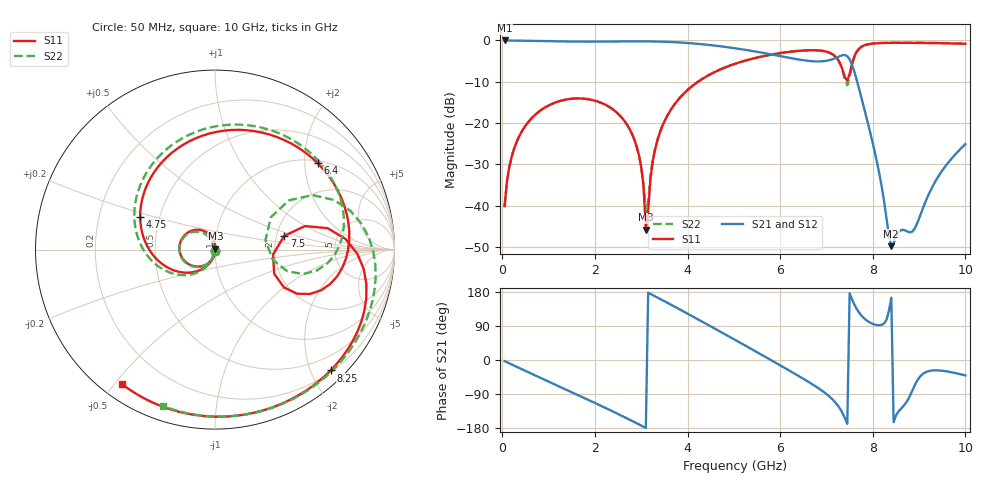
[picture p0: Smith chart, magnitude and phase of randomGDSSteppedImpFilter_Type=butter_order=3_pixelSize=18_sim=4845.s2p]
! freq	dB(S11)	phase(S11)	dB(S12)	phase(S12)
!  dB(S21)	phase(S21)	dB(S22)	phase(S22)
!S-par simulation data
#  GHz  S  DB  R 50
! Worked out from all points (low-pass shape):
!   200 points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, 50 MHz to 10 GHz, reference 50 ohm
!   highest |S21| = -0.01 dB at 50 MHz (marker M1); lowest = -49.8 dB at 8.4 GHz (marker M2)
!   |S21| within 3 dB of the highest: start of sweep to 5.628 GHz
!   lowest |S11| = -45.8 dB at 3.1 GHz (marker M3), VSWR 1.01, Z = 50.3 + j0.443 ohm
!   |S11| at or under -10 dB: start of sweep to 4.227 GHz
!   |S22| runs from -41.6 to -0.5 dB; largest |S21 - S12| = 0
!   S11 on the Smith chart (normalised r, x): 50 MHz: 1.00, -0.02; 4.75 GHz: 0.39, +0.18; 6.4 GHz: 1.07, +2.33; 7.5 GHz: 2.21, +0.40; 8.25 GHz: 0.23, -2.32; 10 GHz: 0.06, -0.52
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0.05  -40.14 -91.5  -0.01 -2.9  -0.01 -2.9  -40.13 -91.5
0.2  -28.27 -101.6  -0.03 -11.6  -0.03 -11.6  -28.27 -101.3
0.5  -20.67 -119.6  -0.08 -28.7  -0.08 -28.7  -20.68 -118.7
1.75  -14.09 168.5  -0.29 -99.2  -0.29 -99.2  -14.10 172.0
2.8  -22.61 104.9  -0.22 -160.6  -0.22 -160.6  -22.62 115.6
3  -30.71 89.7  -0.22 -172.9  -0.22 -172.9  -30.60 112.0
3.1  -45.82 59.4  -0.23 -179.2  -0.23 -179.2  -41.65 152.5
3.25  -29.22 -98.7  -0.25 171.3  -0.25 171.3  -28.94 -108.8
3.4  -22.41 -110.4  -0.29 161.7  -0.29 161.7  -22.31 -112.0
4.1  -11.06 -158.7  -0.70 115.7  -0.70 115.7  -11.04 -152.7
4.75  -6.83 156.2  -1.47 71.9  -1.47 71.9  -6.81 165.6
5.05  -5.57 135.2  -1.94 51.5  -1.94 51.5  -5.56 145.9
5.75  -3.56 85.9  -3.26 3.4  -3.26 3.4  -3.55 99.3
6.4  -2.52 40.0  -4.62 -42.2  -4.62 -42.2  -2.52 54.8
6.7  -2.37 18.5  -5.04 -64.4  -5.04 -64.4  -2.37 33.5
7.25  -4.66 -25.0  -4.00 -121.1  -4.00 -121.1  -4.76 -11.7
7.5  -8.10 11.3  -4.58 175.9  -4.58 175.9  -8.88 30.1
7.75  -1.56 -7.5  -13.66 117.9  -13.66 117.9  -1.61 9.8
8.25  -0.61 -46.3  -39.37 97.4  -39.37 97.4  -0.59 -30.3
8.35  -0.59 -51.9  -47.38 130.3  -47.38 130.3  -0.57 -36.1
8.4  -0.59 -54.6  -49.82 164.3  -49.82 164.3  -0.56 -38.8
10  -0.81 -124.7  -25.11 -40.7  -25.11 -40.7  -0.74 -108.4
